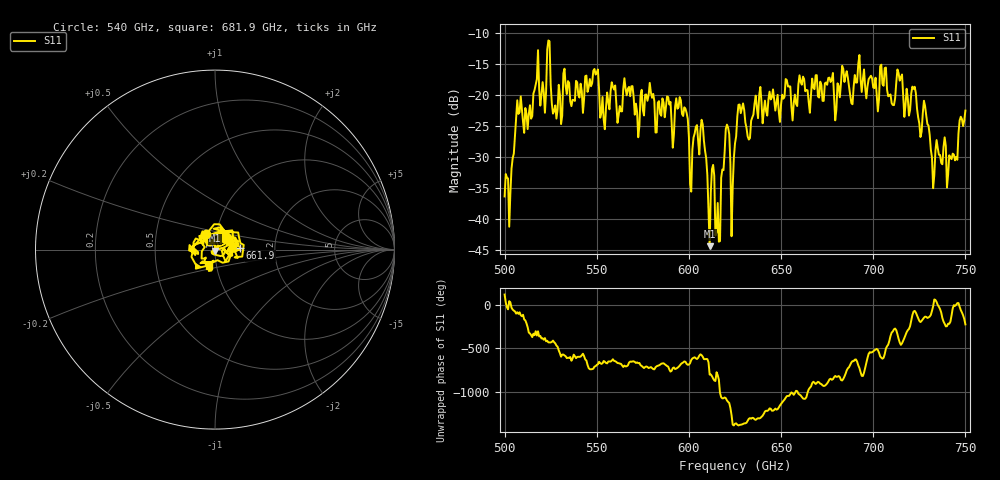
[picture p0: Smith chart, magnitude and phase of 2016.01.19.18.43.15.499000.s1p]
!Created with skrf (http://scikit-rf.org).
# GHz S RI R 50.0
!freq ReS11 ImS11
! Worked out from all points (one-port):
!   401 points, 500 GHz to 750 GHz, reference 50 ohm
!   lowest |S11| = -44.4 dB at 611.2 GHz (marker M1), VSWR 1.01, Z = 50.1 - j0.596 ohm
!   |S11| at or under -10 dB: start of sweep to end of sweep
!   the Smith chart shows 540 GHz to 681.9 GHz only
!   S11 on the Smith chart (normalised r, x): 540 GHz: 0.89, +0.15; 661.9 GHz: 1.33, +0.03; 681.9 GHz: 0.92, -0.17
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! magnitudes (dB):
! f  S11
! 500 GHz  -36.4
! 503.8 GHz  -31.9
! 507.5 GHz  -23.1
! 513.8 GHz  -21.7
! 516.9 GHz  -18.4
! 531.2 GHz  -23.4
! 540 GHz  -20.0
! 549.4 GHz  -16.7
! 553.1 GHz  -20.3
! 562.5 GHz  -21.8
! 593.8 GHz  -22.2
! 601.2 GHz  -35.6
! 607.5 GHz  -24.8
! 611.2 GHz  -44.4
! 615.6 GHz  -37.5
! 620.6 GHz  -24.8
! 623.1 GHz  -42.8
! 625 GHz  -27.8
! 628.1 GHz  -23.0
! 656.2 GHz  -24.1
! 661.9 GHz  -17.1
! 681.9 GHz  -20.4
! 687.5 GHz  -20.0
! 714.4 GHz  -17.7
! 718.8 GHz  -20.6
! 728.8 GHz  -23.3
! 732.5 GHz  -35.1
! 750 GHz  -22.5
